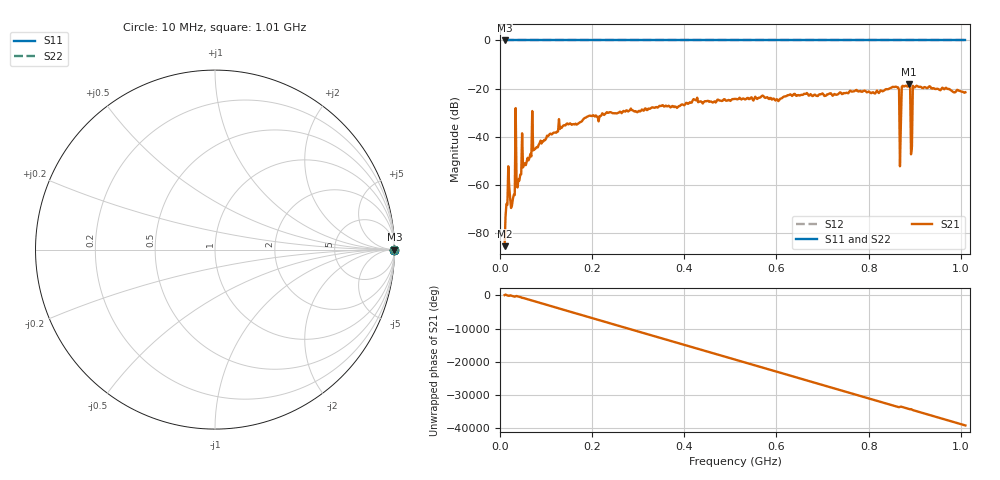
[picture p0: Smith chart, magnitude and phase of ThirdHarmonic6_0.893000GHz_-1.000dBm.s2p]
! 8/16/2025 5:20:38 AM
! C:\ANRITSUVNA\TEMP\TEMP.S2P
! CHANNEL.1
! TR.MEASUREMENT
! RAW.DATA
! RF.CORRECTION.OFF
! AVERAGING.OFF
! IF.BANDWIDTH: 5KHZ
! SWEEPTYPE:  FREQ.SWEEP(Linear)
! Reference Plane Port Info
! PORT:  PORT1  PORT2
! DISTANCE:  0  m  0  m
! TIME:  0  s  0  s
! PHASE.OFFSET:  0  deg.  0  deg.
! LOSS:  0  dB  0  dB
! REF.LOSS:  0  dB  0  dB
! REF.FREQ:  0  Hz  0  Hz
! Power Info
! POWER:  -20  dBm  -20  dBm
! EFF.POWER:  -20  dBm  -20  dBm
! SOURCE.ATTEN:  0  dB  0  dB
! TEST.ATTEN:  0  dB  0  dB
# GHZ S RI R 50.0
! FREQ.GHZ  S11RE  S11IM  S21RE  S21IM  S12RE  S12IM  S22RE  S22IM
!; PortSelection: Port_12
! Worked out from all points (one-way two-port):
!   501 points, 10 MHz to 1.01 GHz, reference 50 ohm
!   highest |S21| = -18.24 dB at 888 MHz (marker M1); lowest = -85.3 dB at 10 MHz (marker M2)
!   lowest |S11| = 0.0 dB at 10 MHz (marker M3)
!   |S11| at or under -10 dB: nowhere
!   |S22| runs from 0.0 to 0.0 dB; largest |S21 - S12| = 1.1
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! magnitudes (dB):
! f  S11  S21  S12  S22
! 10 MHz  0.0  -85.3  0.0  0.0
! 18 MHz  0.0  -52.2  0.0  0.0
! 28 MHz  0.0  -65.7  0.0  0.0
! 30 MHz  0.0  -64.0  0.0  0.0
! 38 MHz  0.0  -61.0  0.0  0.0
! 40 MHz  0.0  -57.7  0.0  0.0
! 48 MHz  0.0  -38.5  0.0  0.0
! 74 MHz  0.0  -45.1  0.0  0.0
! 178 MHz  0.0  -33.5  0.0  0.0
! 344 MHz  0.0  -27.5  0.0  0.0
! 510 MHz  0.0  -24.3  0.0  0.0
! 678 MHz  0.0  -23.1  0.0  0.0
! 844 MHz  0.0  -20.0  0.0  0.0
! 862 MHz  0.0  -19.4  0.0  0.0
! 866 MHz  0.0  -20.5  0.0  0.0
! 872 MHz  0.0  -19.2  0.0  0.0
! 876 MHz  0.0  -19.1  0.0  0.0
! 886 MHz  0.0  -19.1  0.0  0.0
! 888 MHz  0.0  -18.2  0.0  0.0
! 896 MHz  0.0  -18.8  0.0  0.0
! 900 MHz  0.0  -19.5  0.0  0.0
! 1.01 GHz  0.0  -21.5  0.0  0.0
